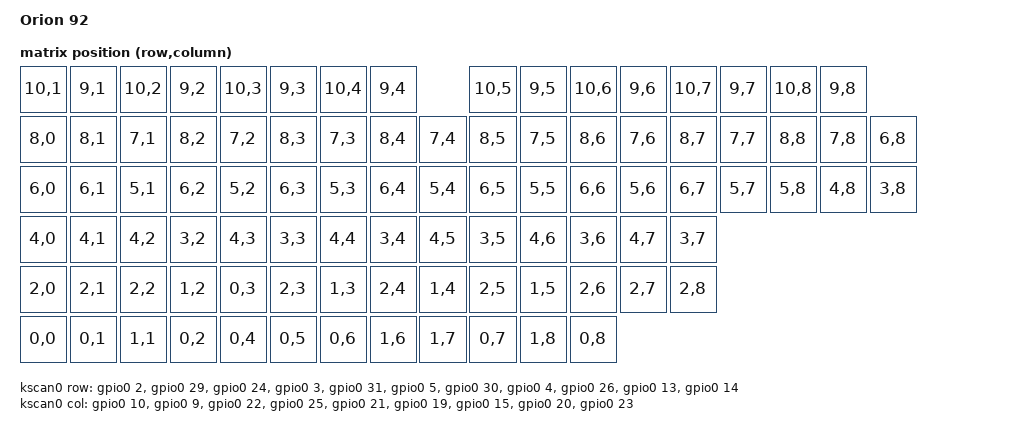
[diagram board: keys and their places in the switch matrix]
/**
 * Copyright (c) 2021 Kuba Birecki
 *
 * SPDX-License-Identifier: MIT
 */

/dts-v1/;
#include <nordic/nrf52840_qiaa.dtsi>

#include <dt-bindings/zmk/matrix_transform.h>
#include <dt-bindings/zmk/issi_transform.h>

/ {
	model = "Orion 92";
	compatible = "orion,orion92";

	chosen {
		zephyr,code-partition = &code_partition;
		zephyr,i2c0 = &i2c0;
		zephyr,sram = &sram0;
		zephyr,flash = &flash0;
		zmk,kscan = &kscan0;
		zmk,matrix_transform = &default_transform;
		zmk,underglow = &led_matrix;
	};

	kscan0: kscan_0 {
		compatible = "zmk,kscan-gpio-matrix";
		label = "KSCAN";
		diode-direction = "col2row";

		col-gpios
			= <&gpio0 10 GPIO_ACTIVE_HIGH>
			, <&gpio0 9 GPIO_ACTIVE_HIGH>
			, <&gpio0 22 GPIO_ACTIVE_HIGH>
			, <&gpio0 25 GPIO_ACTIVE_HIGH>
			, <&gpio0 21 GPIO_ACTIVE_HIGH>
			, <&gpio0 19 GPIO_ACTIVE_HIGH>
			, <&gpio0 15 GPIO_ACTIVE_HIGH>
			, <&gpio0 20 GPIO_ACTIVE_HIGH>
			, <&gpio0 23 GPIO_ACTIVE_HIGH>
			;

		// Row 3 should be 28 not 24 but 28 is used for vbatt because it's screwed up anyway
		row-gpios
			= <&gpio0 2 (GPIO_ACTIVE_HIGH | GPIO_PULL_DOWN)>
			, <&gpio0 29 (GPIO_ACTIVE_HIGH | GPIO_PULL_DOWN)>
			, <&gpio0 24 (GPIO_ACTIVE_HIGH | GPIO_PULL_DOWN)>
			, <&gpio0 3 (GPIO_ACTIVE_HIGH | GPIO_PULL_DOWN)>
			, <&gpio0 31 (GPIO_ACTIVE_HIGH | GPIO_PULL_DOWN)>
			, <&gpio0 5 (GPIO_ACTIVE_HIGH | GPIO_PULL_DOWN)>
			, <&gpio0 30 (GPIO_ACTIVE_HIGH | GPIO_PULL_DOWN)>
			, <&gpio0 4 (GPIO_ACTIVE_HIGH | GPIO_PULL_DOWN)>
			, <&gpio0 26 (GPIO_ACTIVE_HIGH | GPIO_PULL_DOWN)>
			, <&gpio0 13 (GPIO_ACTIVE_HIGH | GPIO_PULL_DOWN)>
			, <&gpio0 14 (GPIO_ACTIVE_HIGH | GPIO_PULL_DOWN)>
			;
	};

	default_transform: keymap_transform_0 {
		compatible = "zmk,matrix-transform";
		columns = <9>;
		rows = <11>;

		map = <
			RC(10,1) RC(9,1) RC(10,2) RC(9,2) RC(10,3) RC(9,3) RC(10,4) RC(9,4) RC(10,5) RC(9,5) RC(10,6) RC(9,6) RC(10,7) RC(9,7) RC(10,8) RC(9,8)
			RC(8,0) RC(8,1) RC(7,1) RC(8,2) RC(7,2) RC(8,3) RC(7,3) RC(8,4) RC(7,4) RC(8,5) RC(7,5) RC(8,6) RC(7,6) RC(8,7) RC(7,7) RC(8,8) RC(7,8) RC(6,8)
			RC(6,0) RC(6,1) RC(5,1) RC(6,2) RC(5,2) RC(6,3) RC(5,3) RC(6,4) RC(5,4) RC(6,5) RC(5,5) RC(6,6) RC(5,6) RC(6,7) RC(5,7) RC(5,8) RC(4,8) RC(3,8)
			RC(4,0) RC(4,1) RC(4,2) RC(3,2) RC(4,3) RC(3,3) RC(4,4) RC(3,4) RC(4,5) RC(3,5) RC(4,6) RC(3,6) RC(4,7) RC(3,7)
			RC(2,0) RC(2,1) RC(2,2) RC(1,2) RC(0,3) RC(2,3) RC(1,3) RC(2,4) RC(1,4) RC(2,5) RC(1,5) RC(2,6) RC(2,7) RC(2,8)
			RC(0,0) RC(0,1) RC(1,1) RC(0,2) RC(0,4) RC(0,5) RC(0,6) RC(1,6) RC(1,7) RC(0,7) RC(1,8) RC(0,8)
		>;
	};

	vbatt {
		compatible = "zmk,battery-voltage-divider";
		label="BATTERY";
		io-channels = <&adc 4>; // row 3
		output-ohms = <2200000>;
		full-ohms = <(2200000 + 750000)>;
	};
};

&adc {
	status = "okay";
};

&gpiote {
	status = "okay";
};

&gpio0 {
	status = "okay";
};

&gpio1 {
	status = "okay";
};

&i2c0 {
	compatible = "nordic,nrf-twi";
	status = "okay";
	clock-frequency = <400000>;
	sda-pin = <41>;
	scl-pin = <40>;

	led_matrix: is31fl3741@30 {
		compatible = "issi,is31fl3741";
		label = "IS31FL3741";
		reg = <0x30>;
		r-ext = <68>;
		led-max-current = <5>;
		sdb-gpios = <&gpio1 6 (GPIO_ACTIVE_HIGH | GPIO_PULL_DOWN)>;

		map = <
			RGB(SW(7), CS(14), CS(13), CS(15))
			RGB(SW(9), CS(14), CS(13), CS(15))
			RGB(SW(5), CS(14), CS(13), CS(15))
			RGB(SW(4), CS(14), CS(13), CS(15))
			RGB(SW(3), CS(14), CS(13), CS(15))
			RGB(SW(2), CS(14), CS(13), CS(15))
			RGB(SW(1), CS(14), CS(13), CS(15))

			RGB(SW(1), CS(35), CS(34), CS(36))
			RGB(SW(2), CS(35), CS(34), CS(36))
			RGB(SW(3), CS(35), CS(34), CS(36))
			RGB(SW(4), CS(35), CS(34), CS(36))
			RGB(SW(5), CS(35), CS(34), CS(36))
			RGB(SW(9), CS(35), CS(34), CS(36))
			RGB(SW(6), CS(35), CS(34), CS(36))
			RGB(SW(7), CS(35), CS(34), CS(36))
			RGB(SW(8), CS(35), CS(34), CS(36))

			RGB(SW(8), CS(11), CS(12), CS(10))
			RGB(SW(7), CS(11), CS(12), CS(10))
			RGB(SW(6), CS(11), CS(12), CS(10))
			RGB(SW(9), CS(11), CS(12), CS(10))
			RGB(SW(5), CS(11), CS(12), CS(10))
			RGB(SW(4), CS(11), CS(12), CS(10))
			RGB(SW(3), CS(11), CS(12), CS(10))
			RGB(SW(2), CS(11), CS(12), CS(10))
			RGB(SW(1), CS(11), CS(12), CS(10))

			RGB(SW(1), CS(32), CS(33), CS(31))
			RGB(SW(2), CS(32), CS(33), CS(31))
			RGB(SW(3), CS(32), CS(33), CS(31))
			RGB(SW(4), CS(32), CS(33), CS(31))
			RGB(SW(5), CS(32), CS(33), CS(31))
			RGB(SW(9), CS(32), CS(33), CS(31))
			RGB(SW(6), CS(32), CS(33), CS(31))
			RGB(SW(7), CS(32), CS(33), CS(31))
			RGB(SW(8), CS(32), CS(33), CS(31))

			RGB(SW(8), CS(17), CS(16), CS(18))
			RGB(SW(7), CS(17), CS(16), CS(18))
			RGB(SW(6), CS(17), CS(16), CS(18))
			RGB(SW(9), CS(17), CS(16), CS(18))
			RGB(SW(5), CS(17), CS(16), CS(18))
			RGB(SW(4), CS(17), CS(16), CS(18))
			RGB(SW(3), CS(17), CS(16), CS(18))
			RGB(SW(2), CS(17), CS(16), CS(18))
			RGB(SW(1), CS(17), CS(16), CS(18))

			RGB(SW(1), CS(29), CS(30), CS(28))
			RGB(SW(2), CS(29), CS(30), CS(28))
			RGB(SW(3), CS(29), CS(30), CS(28))
			RGB(SW(4), CS(29), CS(30), CS(28))
			RGB(SW(5), CS(29), CS(30), CS(28))
			RGB(SW(9), CS(29), CS(30), CS(28))
			RGB(SW(6), CS(29), CS(30), CS(28))
			RGB(SW(7), CS(29), CS(30), CS(28))
			RGB(SW(8), CS(29), CS(30), CS(28))

			RGB(SW(8), CS(5), CS(6), CS(4))
			RGB(SW(7), CS(5), CS(6), CS(4))
			RGB(SW(9), CS(5), CS(6), CS(4))
			RGB(SW(5), CS(5), CS(6), CS(4))
			RGB(SW(4), CS(5), CS(6), CS(4))
			RGB(SW(3), CS(5), CS(6), CS(4))
			RGB(SW(2), CS(5), CS(6), CS(4))
			RGB(SW(1), CS(5), CS(6), CS(4))

			RGB(SW(1), CS(26), CS(27), CS(25))
			RGB(SW(2), CS(26), CS(27), CS(25))
			RGB(SW(3), CS(26), CS(27), CS(25))
			RGB(SW(4), CS(26), CS(27), CS(25))
			RGB(SW(5), CS(26), CS(27), CS(25))
			RGB(SW(9), CS(26), CS(27), CS(25))

			RGB(SW(8), CS(8), CS(7), CS(9))
			RGB(SW(7), CS(8), CS(7), CS(9))
			RGB(SW(5), CS(8), CS(7), CS(9))
			RGB(SW(4), CS(8), CS(7), CS(9))
			RGB(SW(3), CS(8), CS(7), CS(9))
			RGB(SW(2), CS(8), CS(7), CS(9))
			RGB(SW(1), CS(8), CS(7), CS(9))

			RGB(SW(1), CS(20), CS(19), CS(21))
			RGB(SW(2), CS(20), CS(19), CS(21))
			RGB(SW(3), CS(20), CS(19), CS(21))
			RGB(SW(4), CS(20), CS(19), CS(21))
			RGB(SW(5), CS(20), CS(19), CS(21))
			RGB(SW(9), CS(20), CS(19), CS(21))
			RGB(SW(7), CS(20), CS(19), CS(21))

			RGB(SW(8), CS(2), CS(3), CS(1))
			RGB(SW(7), CS(2), CS(3), CS(1))
			RGB(SW(5), CS(2), CS(3), CS(1))
			RGB(SW(4), CS(2), CS(3), CS(1))
			RGB(SW(2), CS(2), CS(3), CS(1))

			RGB(SW(3), CS(38), CS(37), CS(39))
			RGB(SW(4), CS(38), CS(37), CS(39))
			RGB(SW(5), CS(38), CS(37), CS(39))
			RGB(SW(9), CS(38), CS(37), CS(39))
			RGB(SW(6), CS(38), CS(37), CS(39))
			RGB(SW(7), CS(38), CS(37), CS(39))
			RGB(SW(8), CS(38), CS(37), CS(39))

			RGB(SW(6), CS(26), CS(27), CS(25))
			RGB(SW(6), CS(20), CS(19), CS(21))
			RGB(SW(7), CS(26), CS(27), CS(25))
			RGB(SW(8), CS(20), CS(19), CS(21))
			RGB(SW(8), CS(26), CS(27), CS(25))
		>;
	};
};

&usbd {
	compatible = "nordic,nrf-usbd";
	status = "okay";
};

&flash0 {
	/*
	 * For more information, see:
	 * http://docs.zephyrproject.org/latest/devices/dts/flash_partitions.html
	 */
	partitions {
		compatible = "fixed-partitions";
		#address-cells = <1>;
		#size-cells = <1>;

		sd_partition: partition@0 {
			label = "softdevice";
			reg = <0x00000000 0x00026000>;
		};
		code_partition: partition@26000 {
			label = "code_partition";
			reg = <0x00026000 0x000c6000>;
		};

		/*
		 * The flash starting at 0x000ec000 and ending at
		 * 0x000f3fff is reserved for use by the application.
		 */

		/*
		 * Storage partition will be used by FCB/LittleFS/NVS
		 * if enabled.
		 */
		storage_partition: partition@ec000 {
			label = "storage";
			reg = <0x000ec000 0x00008000>;
		};

		boot_partition: partition@f4000 {
			label = "adafruit_boot";
			reg = <0x000f4000 0x0000c000>;
		};
	};
};
